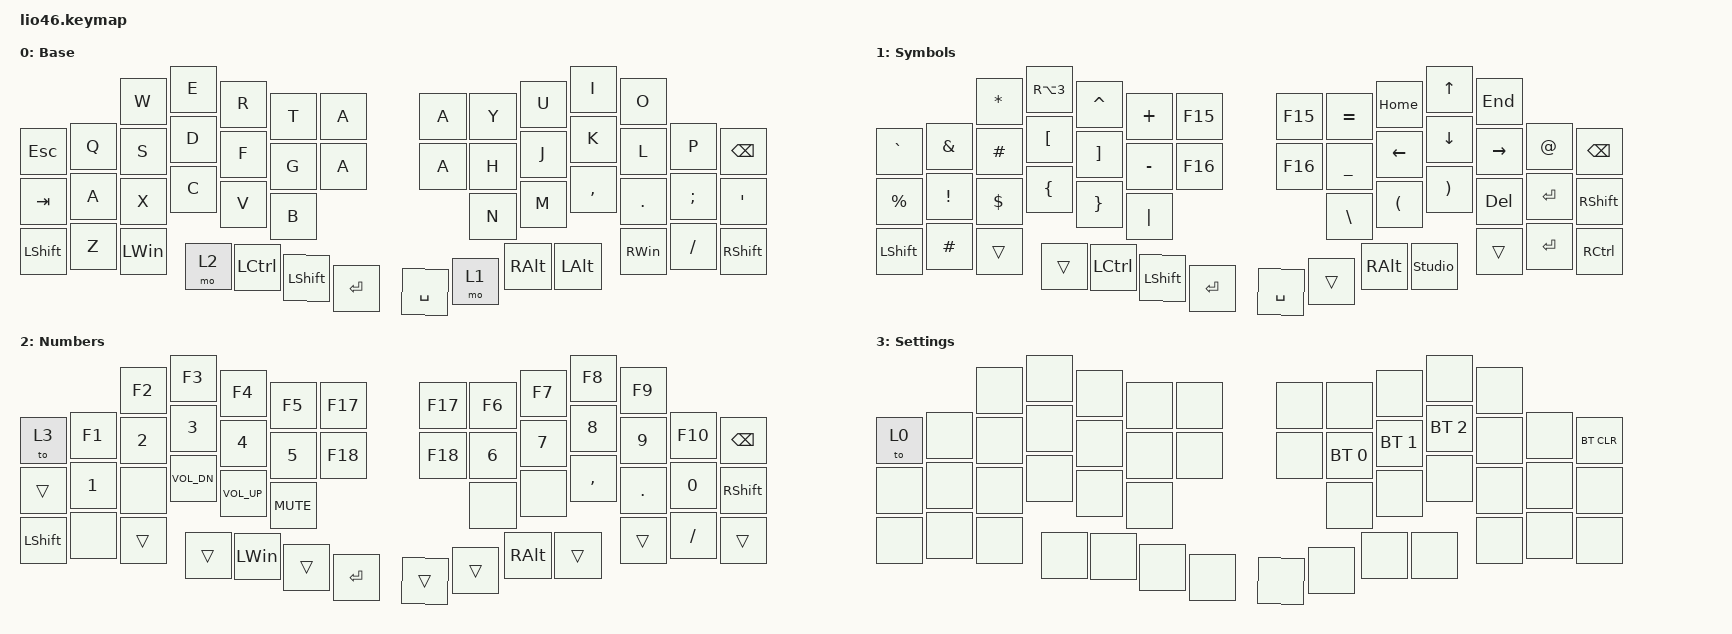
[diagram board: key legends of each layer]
#include <behaviors.dtsi>
#include <dt-bindings/zmk/keys.h>
#include <dt-bindings/zmk/bt.h>

/ {
        keymap {
                compatible = "zmk,keymap";
                base {
                        label = "BASE";
                        display-name = "Base";
                        bindings = <
        &kp ESC    &kp Q  &kp W     &kp E  &kp R      &kp T      &kp A         &kp A      &kp Y   &kp U     &kp I     &kp O    &kp P     &kp BSPC
        &kp TAB    &kp A  &kp S     &kp D  &kp F      &kp G      &kp A         &kp A      &kp H   &kp J     &kp K     &kp L    &kp SEMI  &kp SQT
        &kp LSHFT  &kp Z  &kp X     &kp C  &kp V      &kp B                               &kp N   &kp M     &kp COMMA &kp DOT  &kp FSLH  &kp RSHFT
                          &kp LWIN  &mo 2  &kp LCTRL  &kp LSHFT  &kp RET       &kp SPACE  &mo 1   &kp RALT  &kp LALT  &kp RWIN
                        >;
                                // | ESC  |  Q  |  W  |  E  |  R  |  T  | A        A |  Y  |  U  |  I  |  O  |  P  |  <-  |
                                // | TAB  |  A  |  S  |  D  |  F  |  G  | A        A |  H  |  J  |  K  |  L  |  ;  |  '   |
                                // | LSHFT|  Z  |  X  |  C  |  V  |  B  |            |  N  |  M  |  ,  |  .  |  /  |RSHFT |
                                //              | LWIN| MO2 |LCTRL|LSHFT| ENT |    | SPC | MO1 |RALT |LALT |RWIN |
                };

                sym {
                        label = "SYM";
                        display-name = "Symbols";
                        bindings = <
        &kp GRAVE  &kp AMPS  &kp STAR  &kp RA(N3)  &kp CARET  &kp PLUS   &kp F15        &kp F15    &kp EQUAL  &kp HOME  &kp UP          &kp END    &kp AT   &kp BSPC
        &kp PRCNT  &kp EXCL  &kp HASH  &kp LBKT    &kp RBKT   &kp MINUS  &kp F16        &kp F16    &kp UNDER  &kp LEFT  &kp DOWN        &kp RIGHT  &kp RET  &kp RSHFT
        &kp LSHFT  &kp HASH  &kp DLLR  &kp LBRC    &kp RBRC   &kp PIPE                             &kp BSLH   &kp LPAR  &kp RPAR        &kp DEL    &kp RET  &kp RCTRL
                             &trans    &trans      &kp LCTRL  &kp LSHFT  &kp RET        &kp SPACE  &trans     &kp RALT  &studio_unlock  &trans
                        >;
                                // |  `   |  &  |  *  |  ê  |  ^  |  +  | F15 |    | F15 |  =  |HOME | UP  | END |  @  |  <-  |
                                // |  %   |  !  |  #  |  [  |  ]  |  -  | F16 |    | F16 |  _  | <-  | DOW | ->  | RET |RSHFT |
                                // | LSHFT|  #  |  $  |  {  |  }  |  |  |                |  \  |  (  |  )  | DEL | RET |RCTRL |
                                //              |     |     |LCTRL|LSHFT| ENT |    | SPC |     |RALT |     |     |
                };

                num {
                        label = "NUM";
                        display-name = "Numbers";
                        bindings = <
        &to 3      &kp F1  &kp F2  &kp F3        &kp F4        &kp F5     &kp F17   &kp F17   &kp F6  &kp F7    &kp F8     &kp F9   &kp F10   &kp BSPC
        &trans     &kp N1  &kp N2  &kp N3        &kp N4        &kp N5     &kp F18   &kp F18   &kp N6  &kp N7    &kp N8     &kp N9   &kp N0    &kp RSHFT
        &kp LSHFT  &none   &none   &kp C_VOL_DN  &kp C_VOL_UP  &kp C_MUTE                     &none   &none     &kp COMMA  &kp DOT  &kp FSLH  &trans
                           &trans  &trans        &kp LWIN      &trans     &kp RET   &trans    &trans  &kp RALT  &trans     &trans
                        >;
                                // |  to3 | F1  | F2  | F3  | F4  | F5  | F17 |       | F17 | F6  | F7  | F8  | F9  | F10 |  <-  |
                                // |      |  1  |  2  |  3  |  4  |  5  | F18 |       | F18 |  6  |  7  |  8  |  9  |  0  |RSHFT |
                                // | LSHFT|     |     |vol- |vol+ |MUTE |                   |     |     |  ,  |  .  |  /  |      |
                                //              |     |     |LWIN |     | ENT |       |     |     |RALT |     |     |
                };
                settings {
                        label = "SETTINGS";
                        display-name = "Settings";
                        bindings = <
        &to 0  &none  &none  &none  &none  &none  &none         &none  &none         &none         &none         &none  &none  &bt BT_CLR
        &none  &none  &none  &none  &none  &none  &none         &none  &bt BT_SEL 0  &bt BT_SEL 1  &bt BT_SEL 2  &none  &none  &none
        &none  &none  &none  &none  &none  &none                       &none         &none         &none         &none  &none  &none
                      &none  &none  &none  &none  &none         &none  &none         &none         &none         &none
                        >;
                                // | to0 |     |     |     |     |                |     |     |     |     |     | clr |
                                // |     |     |     |     |     |                |     | bt1 | bt2 | bt3 |     |     |
                                // |     |     |     |     |     |                |     |     |     |     |     |     |
                                //             |     |     |     |     |    |     |     |     |     |     |
                };
        };
};
